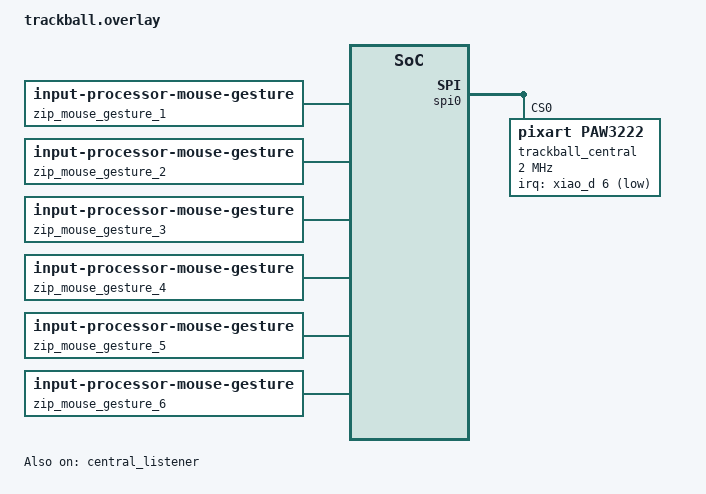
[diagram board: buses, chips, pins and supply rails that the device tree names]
#include <scroll-snap.dtsi>
#include <input/processors.dtsi>

&spi0 {
    status = "okay";

    trackball_central: trackball@1 {
        status = "okay";
        compatible = "pixart,paw3222";
        reg = <0>;
        spi-max-frequency = <2000000>;
        irq-gpios = <&xiao_d 6 (GPIO_ACTIVE_LOW | GPIO_PULL_UP)>;
        res-cpi = <1300>;
    };
};

// ペリフェラル（split経由）のリスナーを有効化
&peripheral_listener {
    status = "okay";
};

// excluded-positions以外のキーを押すとAMLが解除される。positionsは、lism.dtsiのpositionsと同じ順番で指定する必要がある。
//キー入力中のオートマウスレイヤー無効
&zip_temp_layer {
    require-prior-idle-ms = <350>; 

    excluded-positions = <
        //6 // U
        //7 // I
        16 // J
        17 // K
        18 // L
        26 // M
        28 // .
    >;
};

// セントラルのリスナーを有効化し、deviceを紐付け
&central_listener {
    status = "okay";
    device = <&trackball_central>;

// レイヤーごとのジェスチャー有効設定
    gesture_l11 {
        layers = <11>;
        input-processors = <&zip_mouse_gesture_1 &zip_xy_scaler 0 1>;
    };
    gesture_l12 {
        layers = <12>;
        input-processors = <&zip_mouse_gesture_2 &zip_xy_scaler 0 1>;
    };
    gesture_l13 {
        layers = <13>;
        input-processors = <&zip_mouse_gesture_3  &zip_xy_scaler 0 1>;
    };
    gesture_l14 {
        layers = <14>;
        input-processors = <&zip_mouse_gesture_4  &zip_xy_scaler 0 1>;
    };
    gesture_l15 {
        layers = <15>;
        input-processors = <&zip_mouse_gesture_5  &zip_xy_scaler 0 1>;
    };
    gesture_l16 {
        layers = <16>;
        input-processors = <&zip_mouse_gesture_6 &zip_xy_scaler 0 1>;
    };


    input-processors = 
        <&zip_xy_transform (INPUT_TRANSFORM_X_INVERT | INPUT_TRANSFORM_Y_INVERT)>,
        <&zip_temp_layer 8 10000>;

// レイヤー4,5のときだけカーソルを遅くする設定（スナイプモード）
    snipe_mode {
        layers = <4 5>; 
        input-processors = 
            <&zip_temp_layer 8 10000>, // オートマウスの設定を引き継ぐ
            <&zip_xy_transform (INPUT_TRANSFORM_X_INVERT | INPUT_TRANSFORM_Y_INVERT)>,
            <&zip_xy_scaler 1 3>;       // カーソル移動量を1/3倍（3倍遅く）にする
    };

    scroller {
        layers = <9>;
        input-processors = 
            <&zip_xy_to_scroll_mapper>,
            <&zip_scroll_transform INPUT_TRANSFORM_Y_INVERT>,
            <&zip_scroll_scaler 1 16>,
            <&zip_scroll_snap>;
    };
// レイヤー10のときにY軸反転スクロール(Windows用)
    scroller_reverse {
        layers = <10>;
        input-processors = 
            <&zip_xy_to_scroll_mapper>,
            <&zip_scroll_transform INPUT_TRANSFORM_X_INVERT>,
            <&zip_scroll_scaler 1 16>,
            <&zip_scroll_snap>;
    };
};

/ {
    /* 左手側にも追加が必要 */

    zip_mouse_gesture_1: zip_mouse_gesture_1 {
        compatible = "zmk,input-processor-mouse-gesture";
        #input-processor-cells = <0>;
    };

    zip_mouse_gesture_2: zip_mouse_gesture_2 {
        compatible = "zmk,input-processor-mouse-gesture";
        #input-processor-cells = <0>;
    };

    zip_mouse_gesture_3: zip_mouse_gesture_3 {
        compatible = "zmk,input-processor-mouse-gesture";
        #input-processor-cells = <0>;
    };
    zip_mouse_gesture_4: zip_mouse_gesture_4 {
        compatible = "zmk,input-processor-mouse-gesture";
        #input-processor-cells = <0>;
    };

    zip_mouse_gesture_5: zip_mouse_gesture_5 {
        compatible = "zmk,input-processor-mouse-gesture";
        #input-processor-cells = <0>;
    };
    zip_mouse_gesture_6: zip_mouse_gesture_6 {
        compatible = "zmk,input-processor-mouse-gesture";
        #input-processor-cells = <0>;
    };
};
